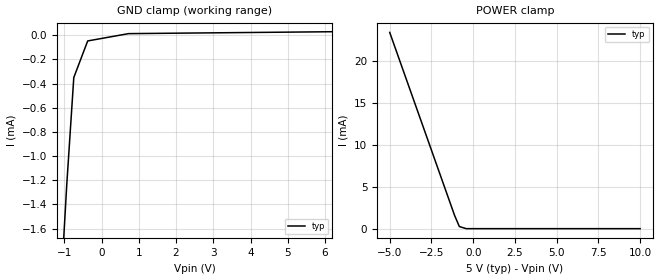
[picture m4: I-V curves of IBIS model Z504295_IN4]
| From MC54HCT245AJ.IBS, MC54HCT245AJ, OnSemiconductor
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| (C) COPYRIGHT 1993-2000
| MENTOR GRAPHICS CORPORATION
| ICX STANDARD LIBRARY, ICX PROJECT MODELING,
| ICX CUSTOM MODELING, ICX VENDOR MODEL
| ALL RIGHTS RESERVED.
| THE FOLLOWING ARE TRADEMARKS OR SERVICE MARKS OF
| MENTOR GRAPHICS CORPORATION:ICX (R), ICX STANDARD
| LIBRARY(R), ICX PROJECT MODELING(R), ICX CUSTOM
| MODELING(R), qualityIBIS(TM), MODELVIEWER(TM),
| AND MODELEDITOR(TM)
| ALL COPIES OF SOFTWARE, INCLUDING BUT NOT LIMITED TO
| ANY MODIFICATIONS, ENHANCEMENTS OR DERIVATIVE WORKS,
| MUST CONTAIN ALL MENTOR GRAPHICS CORPORATION'S
| NOTICES AND LEGENDS, INCLUDING THOSE EMBEDDED IN
| SOFTWARE AND THOSE AFFIXED TO SOFTWARE MEDIUM
| AND CONTAINER, AS RECEIVED FROM MENTOR GRAPHICS
| CORPORATION.
| Model Application Version 1.89 2/18/99.
[Model] Z504295_IN4
Model_type Input
Vinl = 800.0mV
Vinh = 2.000V
C_comp 4.000pF NA NA
| variable typ   min   max
[Voltage Range] 5.000V NA NA
[GND Clamp Reference] 0.000V NA NA
[POWER Clamp Reference] 5.000V NA NA
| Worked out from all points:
|   GND clamp passes 1 mA (typ) near -0.88 V on its own axis
[GND Clamp]
-5V       -24.29mA   NA         NA
-1.333V   -3.396mA   NA         NA
-936.7mV  -1.244mA   NA         NA
-746.4mV  -349.7uA   NA         NA
-373.2mV  -46.77uA   NA         NA
724.4mV   13.73uA    NA         NA
10V       40.49uA    NA         NA
[POWER Clamp]
-5V       23.4mA     NA         NA
-1.113V   1.568mA    NA         NA
-829mV    249.6uA    NA         NA
-414.5mV  0A         NA         NA
10V       0A         NA         NA
